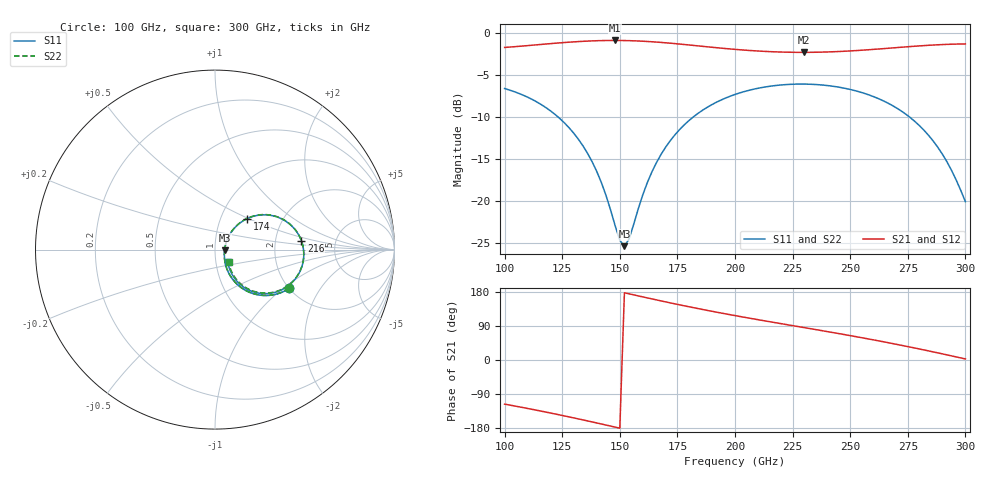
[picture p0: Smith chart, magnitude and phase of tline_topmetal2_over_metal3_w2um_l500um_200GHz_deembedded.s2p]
! Created with skrf 2.2.0 (http://scikit-rf.org).
# GHz S DB R 50.0
! Port[1] = P1
! Port[2] = P2
!freq dBS11 angS11 dBS21 angS21 dBS12 angS12 dBS22 angS22
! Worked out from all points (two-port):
!   101 points, 100 GHz to 300 GHz, reference 50 ohm
!   highest |S21| = -0.88 dB at 148 GHz (marker M1); lowest = -2.3 dB at 230 GHz (marker M2)
!   |S21| within 3 dB of the highest: start of sweep to end of sweep
!   lowest |S11| = -25.4 dB at 152 GHz (marker M3), VSWR 1.11, Z = 55.6 - j0.502 ohm
!   |S11| at or under -10 dB: 123.1 GHz to 182 GHz (58.84 GHz wide, 38.6 % of centre); 275.7 GHz to end of sweep
!   |S22| runs from -25.5 to -6.1 dB; largest |S21 - S12| = 1e-14
!   S11 on the Smith chart (normalised r, x): 100 GHz: 2.01, -1.11; 174 GHz: 1.33, +0.49; 216 GHz: 2.81, +0.37; 300 GHz: 1.14, -0.16
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100  -6.62 -27.5  -1.72 -116.4  -1.72 -116.4  -6.62 -27.5
120  -9.30 -47.1  -1.26 -140.0  -1.26 -140.0  -9.30 -47.0
134  -13.46 -58.4  -0.99 -158.1  -0.99 -158.1  -13.46 -58.4
142  -17.84 -58.5  -0.90 -168.9  -0.90 -168.9  -17.85 -58.6
148  -23.01 -41.7  -0.88 -177.1  -0.88 -177.1  -23.06 -42.0
150  -24.73 -26.3  -0.89 -179.9  -0.89 -179.9  -24.80 -26.5
152  -25.44 -4.8  -0.89 177.4  -0.89 177.4  -25.53 -4.8
154  -24.59 16.2  -0.91 174.6  -0.91 174.6  -24.68 16.5
162  -17.81 46.6  -1.01 163.8  -1.01 163.8  -17.84 47.0
168  -14.44 47.4  -1.12 155.8  -1.12 155.8  -14.45 47.7
174  -12.12 44.0  -1.26 148.1  -1.26 148.1  -12.13 44.4
186  -9.20 33.9  -1.58 133.3  -1.58 133.3  -9.20 34.2
200  -7.33 20.8  -1.95 117.2  -1.95 117.2  -7.33 21.2
216  -6.32 6.0  -2.23 100.1  -2.23 100.1  -6.32 6.4
230  -6.09 -6.7  -2.30 85.5  -2.30 85.5  -6.09 -6.3
234  -6.13 -10.3  -2.29 81.3  -2.29 81.3  -6.13 -9.9
252  -6.87 -26.8  -2.10 62.2  -2.10 62.2  -6.87 -26.2
268  -8.60 -41.4  -1.78 43.9  -1.78 43.9  -8.60 -40.7
278  -10.53 -49.8  -1.57 31.6  -1.57 31.6  -10.52 -48.9
286  -12.87 -54.8  -1.43 21.4  -1.43 21.4  -12.84 -53.6
294  -16.39 -54.7  -1.33 10.9  -1.33 10.9  -16.30 -53.0
300  -20.12 -43.8  -1.30 2.8  -1.30 2.8  -19.87 -41.8
